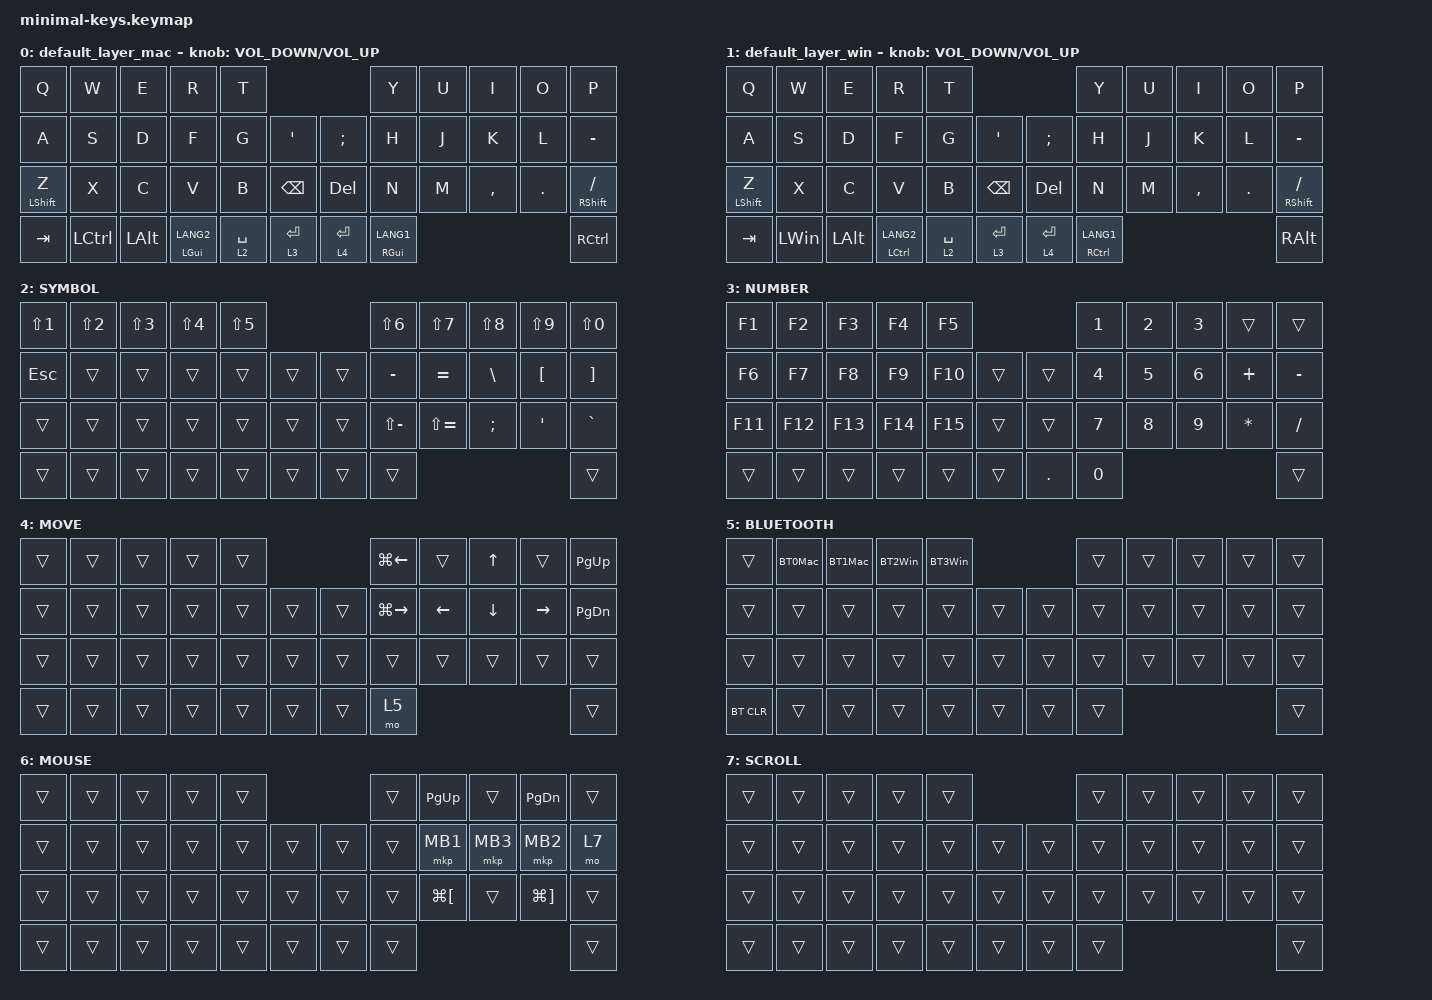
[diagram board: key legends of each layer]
#include <behaviors.dtsi>
#include <dt-bindings/zmk/bt.h>
#include <dt-bindings/zmk/keys.h>
#include <dt-bindings/zmk/pointing.h>

#undef ZMK_POINTING_DEFAULT_SCRL_VAL

#define ZMK_POINTING_DEFAULT_SCRL_VAL 100
#define MOUSE 6

&mt {
    flavor = "balanced";
    quick-tap-ms = <0>;
};

/ {
    combos { compatible = "zmk,combos"; };

    macros {
        to_layer_0: to_layer_0 {
            compatible = "zmk,behavior-macro-one-param";
            #binding-cells = <1>;
            bindings = <&to 0 &macro_param_1to1 &kp MACRO_PLACEHOLDER>;
            label = "TO_LAYER_0";
        };

        BT0Mac: BT0Mac {
            compatible = "zmk,behavior-macro";
            #binding-cells = <0>;
            bindings = <&bt BT_SEL 0 &to 0>;
            label = "BT0MAC";
        };

        BT1Mac: BT1Mac {
            compatible = "zmk,behavior-macro";
            #binding-cells = <0>;
            bindings = <&bt BT_SEL 1 &to 0>;
            label = "BT1MAC";
        };

        BT2Win: BT2Win {
            compatible = "zmk,behavior-macro";
            #binding-cells = <0>;
            bindings = <&bt BT_SEL 2 &to 1>;
            label = "BT2WIN";
        };

        BT3Win: BT3Win {
            compatible = "zmk,behavior-macro";
            #binding-cells = <0>;
            bindings = <&bt BT_SEL 3 &to 1>;
            label = "BT3WIN";
        };
    };

    behaviors {
        lt_to_layer_0: lt_to_layer_0 {
            compatible = "zmk,behavior-hold-tap";
            label = "LAYER_TAP_TO_0";
            bindings = <&mo>, <&to_layer_0>;

            #binding-cells = <2>;
            tapping-term-ms = <200>;
        };

        scroll_up_down: behavior_sensor_rotate_mouse_wheel_up_down {
            compatible = "zmk,behavior-sensor-rotate";
            #sensor-binding-cells = <0>;
            bindings = <&msc SCRL_DOWN>, <&msc SCRL_UP>;

            tap-ms = <20>;
        };

        scroll: scroll {
            compatible = "zmk,behavior-sensor-rotate";
            label = "SCROLL";
            #sensor-binding-cells = <0>;
            bindings = <&msc SCRL_UP>, <&msc SCRL_DOWN>;
        };
    };

    keymap {
        compatible = "zmk,keymap";

        default_layer_mac {
            bindings = <
&kp Q             &kp W             &kp E         &kp R               &kp T                                      &kp Y                &kp U  &kp I      &kp O    &kp P
&kp A             &kp S             &kp D         &kp F               &kp G        &kp SQT          &kp SEMI     &kp H                &kp J  &kp K      &kp L    &kp MINUS
&mt LEFT_SHIFT Z  &kp X             &kp C         &kp V               &kp B        &kp BACKSPACE    &kp DELETE   &kp N                &kp M  &kp COMMA  &kp DOT  &mt RIGHT_SHIFT SLASH
&kp TAB           &kp LEFT_CONTROL  &kp LEFT_ALT  &mt LEFT_GUI LANG2  &lt 2 SPACE  &lt 3 ENTER      &lt 4 ENTER  &mt RIGHT_GUI LANG1                             &kp RIGHT_CONTROL
            >;

            sensor-bindings = <&inc_dec_kp C_VOLUME_DOWN C_VOLUME_UP>;
        };

        default_layer_win {
            bindings = <
&kp Q             &kp W         &kp E         &kp R                   &kp T                                        &kp Y                    &kp U  &kp I      &kp O    &kp P
&kp A             &kp S         &kp D         &kp F                   &kp G        &kp SQT          &kp SEMICOLON  &kp H                    &kp J  &kp K      &kp L    &kp MINUS
&mt LEFT_SHIFT Z  &kp X         &kp C         &kp V                   &kp B        &kp BACKSPACE    &kp DELETE     &kp N                    &kp M  &kp COMMA  &kp DOT  &mt RIGHT_SHIFT SLASH
&kp TAB           &kp LEFT_WIN  &kp LEFT_ALT  &mt LEFT_CONTROL LANG2  &lt 2 SPACE  &lt 3 ENTER      &lt 4 ENTER    &mt RIGHT_CONTROL LANG1                             &kp RIGHT_ALT
            >;

            sensor-bindings = <&inc_dec_kp C_VOLUME_DOWN C_VOLUME_UP>;
        };

        SYMBOL {
            bindings = <
&kp LS(NUMBER_1)  &kp LS(NUMBER_2)  &kp LS(NUMBER_3)  &kp LS(NUMBER_4)  &kp LS(NUMBER_5)                    &kp LS(NUMBER_6)  &kp LS(NUMBER_7)  &kp LS(NUMBER_8)  &kp LS(NUMBER_9)  &kp LS(NUMBER_0)
&kp ESCAPE        &trans            &trans            &trans            &trans            &trans    &trans  &kp MINUS         &kp EQUAL         &kp BACKSLASH     &kp LEFT_BRACKET  &kp RIGHT_BRACKET
&trans            &trans            &trans            &trans            &trans            &trans    &trans  &kp LS(MINUS)     &kp LS(EQUAL)     &kp SEMI          &kp APOS          &kp GRAVE
&trans            &trans            &trans            &trans            &trans            &trans    &trans  &trans                                                                  &trans
            >;
        };

        NUMBER {
            bindings = <
&kp F1   &kp F2   &kp F3   &kp F4   &kp F5                         &kp NUMBER_1  &kp NUMBER_2  &kp NUMBER_3  &trans    &trans
&kp F6   &kp F7   &kp F8   &kp F9   &kp F10  &trans    &trans      &kp NUMBER_4  &kp NUMBER_5  &kp NUMBER_6  &kp PLUS  &kp MINUS
&kp F11  &kp F12  &kp F13  &kp F14  &kp F15  &trans    &trans      &kp NUMBER_7  &kp NUMBER_8  &kp NUMBER_9  &kp STAR  &kp SLASH
&trans   &trans   &trans   &trans   &trans   &trans    &kp PERIOD  &kp NUMBER_0                                        &trans
            >;
        };

        MOVE {
            bindings = <
&trans  &trans  &trans  &trans  &trans                    &kp LG(LEFT)   &trans    &kp UP    &trans     &kp PAGE_UP
&trans  &trans  &trans  &trans  &trans  &trans    &trans  &kp LG(RIGHT)  &kp LEFT  &kp DOWN  &kp RIGHT  &kp PAGE_DOWN
&trans  &trans  &trans  &trans  &trans  &trans    &trans  &trans         &trans    &trans    &trans     &trans
&trans  &trans  &trans  &trans  &trans  &trans    &trans  &mo 5                                         &trans
            >;
        };

        BLUETOOTH {
            bindings = <
&trans      &BT0Mac  &BT1Mac  &BT2Win  &BT3Win                    &trans  &trans  &trans  &trans  &trans
&trans      &trans   &trans   &trans   &trans   &trans    &trans  &trans  &trans  &trans  &trans  &trans
&trans      &trans   &trans   &trans   &trans   &trans    &trans  &trans  &trans  &trans  &trans  &trans
&bt BT_CLR  &trans   &trans   &trans   &trans   &trans    &trans  &trans                          &trans
            >;
        };

        MOUSE {
            bindings = <
&trans  &trans  &trans  &trans  &trans                    &trans  &kp PAGE_UP   &trans    &kp PAGE_DOWN  &trans
&trans  &trans  &trans  &trans  &trans  &trans    &trans  &trans  &mkp MB1      &mkp MB3  &mkp MB2       &mo 7
&trans  &trans  &trans  &trans  &trans  &trans    &trans  &trans  &kp LG(LBKT)  &trans    &kp LG(RBKT)   &trans
&trans  &trans  &trans  &trans  &trans  &trans    &trans  &trans                                         &trans
            >;
        };

        SCROLL {
            bindings = <
&trans  &trans  &trans  &trans  &trans                    &trans  &trans  &trans  &trans  &trans
&trans  &trans  &trans  &trans  &trans  &trans    &trans  &trans  &trans  &trans  &trans  &trans
&trans  &trans  &trans  &trans  &trans  &trans    &trans  &trans  &trans  &trans  &trans  &trans
&trans  &trans  &trans  &trans  &trans  &trans    &trans  &trans                          &trans
            >;
        };
    };
};
